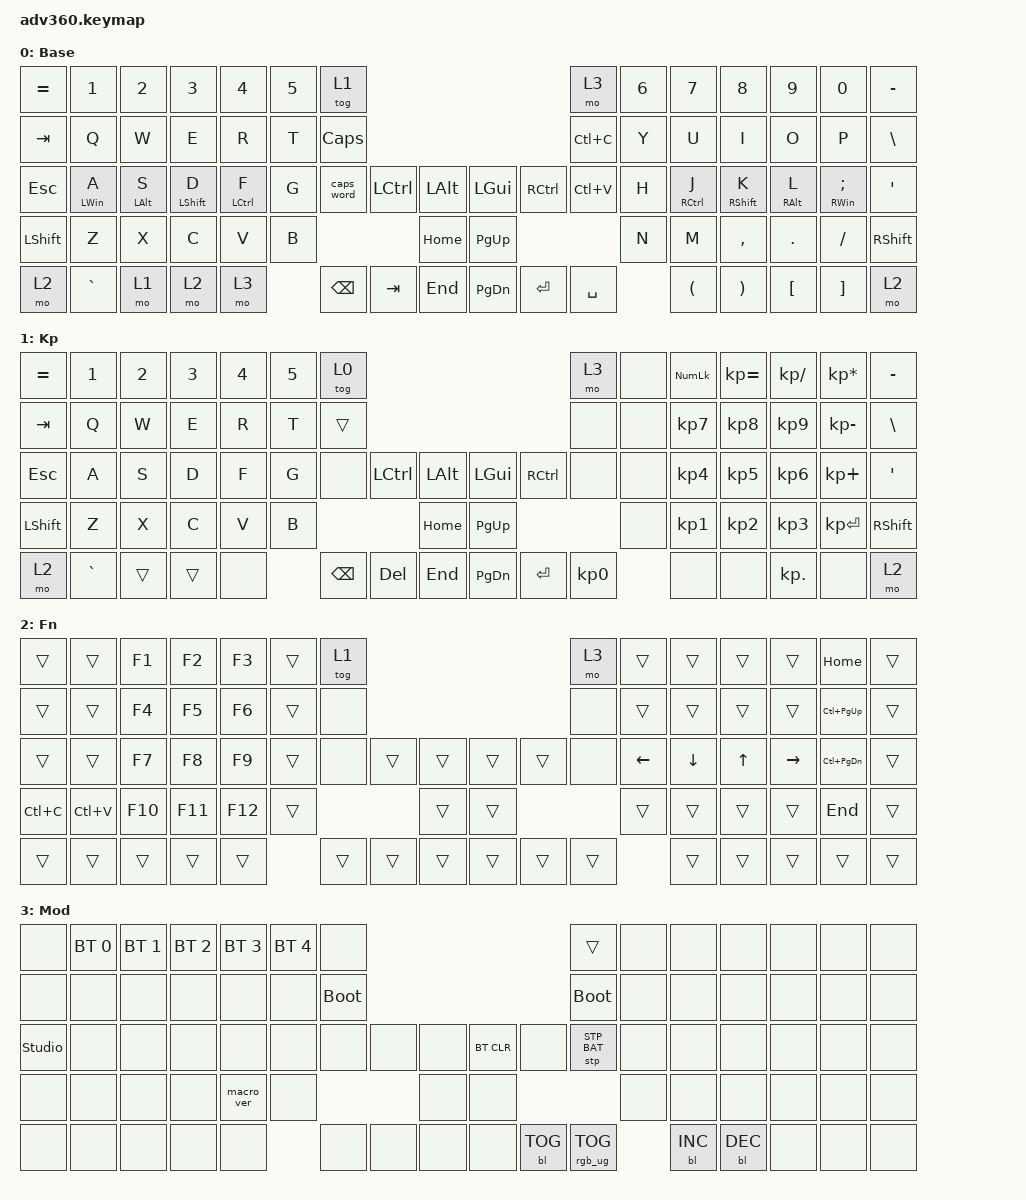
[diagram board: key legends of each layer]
#include <dt-bindings/zmk/stp.h>
#include <behaviors.dtsi>
#include <dt-bindings/zmk/backlight.h>
#include <dt-bindings/zmk/bt.h>
#include <dt-bindings/zmk/keys.h>
#include <dt-bindings/zmk/rgb.h>

/ {
    behaviors {
        #include "macros.dtsi"
      #include "version.dtsi"

        hm: homerow_mods {
            compatible = "zmk,behavior-hold-tap";
            label = "HOMEROW_MODS";
            #binding-cells = <2>;
            tapping-term-ms = <280>;
            quick_tap_ms = <125>;
            require-prior-idle-ms = <150>;
            flavor = "tap-preferred";
            bindings = <&kp>, <&kp>;
        };
    };

    keymap {
        compatible = "zmk,keymap";

        default_layer {
            display-name = "Base";
            bindings = <
&kp EQUAL  &kp N1          &kp N2          &kp N3            &kp N4       &kp N5  &tog 1                                                       &mo 3      &kp N6  &kp N7                &kp N8                 &kp N9           &kp N0                   &kp MINUS
&kp TAB    &kp Q           &kp W           &kp E             &kp R        &kp T   &kp CAPSLOCK                                                 &kp LC(C)  &kp Y   &kp U                 &kp I                  &kp O            &kp P                    &kp BSLH
&kp ESC    &hm LEFT_WIN A  &hm LEFT_ALT S  &hm LEFT_SHIFT D  &hm LCTRL F  &kp G   &caps_word    &kp LCTRL  &kp LALT      &kp LGUI   &kp RCTRL  &kp LC(V)  &kp H   &hm RIGHT_CONTROL J   &hm RIGHT_SHIFT K      &hm RIGHT_ALT L  &hm RIGHT_WIN SEMICOLON  &kp SQT
&kp LSHFT  &kp Z           &kp X           &kp C             &kp V        &kp B                            &kp HOME      &kp PG_UP                        &kp N   &kp M                 &kp COMMA              &kp DOT          &kp FSLH                 &kp RSHFT
&mo 2      &kp GRAVE       &mo 1           &mo 2             &mo 3                &kp BSPC      &kp TAB    &kp END       &kp PG_DN  &kp ENTER  &kp SPACE          &kp LEFT_PARENTHESIS  &kp RIGHT_PARENTHESIS  &kp LBKT         &kp RBKT                 &mo 2
            >;
        };

        keypad {
            display-name = "Kp";
            bindings = <
&kp EQUAL  &kp N1     &kp N2  &kp N3  &kp N4  &kp N5  &tog 0                                                   &mo 3      &none  &kp KP_NUM  &kp KP_EQUAL  &kp KP_DIVIDE  &kp KP_MULTIPLY  &kp MINUS
&kp TAB    &kp Q      &kp W   &kp E   &kp R   &kp T   &trans                                                   &none      &none  &kp KP_N7   &kp KP_N8     &kp KP_N9      &kp KP_MINUS     &kp BSLH
&kp ESC    &kp A      &kp S   &kp D   &kp F   &kp G   &none     &kp LCTRL  &kp LALT      &kp LGUI   &kp RCTRL  &none      &none  &kp KP_N4   &kp KP_N5     &kp KP_N6      &kp KP_PLUS      &kp SQT
&kp LSHFT  &kp Z      &kp X   &kp C   &kp V   &kp B                        &kp HOME      &kp PG_UP                        &none  &kp KP_N1   &kp KP_N2     &kp KP_N3      &kp KP_ENTER     &kp RSHFT
&mo 2      &kp GRAVE  &trans  &trans  &none           &kp BSPC  &kp DEL    &kp END       &kp PG_DN  &kp ENTER  &kp KP_N0         &none       &none         &kp KP_DOT     &none            &mo 2
            >;
        };

        fn {
            display-name = "Fn";
            bindings = <
&trans     &trans     &kp F1   &kp F2   &kp F3   &trans  &tog 1                                      &mo 3   &trans    &trans          &trans        &trans     &kp HOME           &trans
&trans     &trans     &kp F4   &kp F5   &kp F6   &trans  &none                                       &none   &trans    &trans          &trans        &trans     &kp LC(PAGE_UP)    &trans
&trans     &trans     &kp F7   &kp F8   &kp F9   &trans  &none   &trans  &trans      &trans  &trans  &none   &kp LEFT  &kp DOWN_ARROW  &kp UP_ARROW  &kp RIGHT  &kp LC(PAGE_DOWN)  &trans
&kp LC(C)  &kp LC(V)  &kp F10  &kp F11  &kp F12  &trans                  &trans      &trans                  &trans    &trans          &trans        &trans     &kp END            &trans
&trans     &trans     &trans   &trans   &trans           &trans  &trans  &trans      &trans  &trans  &trans            &trans          &trans        &trans     &trans             &trans
            >;
        };

        mod {
            display-name = "Mod";
            bindings = <
&none           &bt BT_SEL 0  &bt BT_SEL 1  &bt BT_SEL 2  &bt BT_SEL 3  &bt BT_SEL 4  &none                                                  &trans           &none  &none       &none       &none  &none  &none
&none           &none         &none         &none         &none         &none         &bootloader                                            &bootloader      &none  &none       &none       &none  &none  &none
&studio_unlock  &none         &none         &none         &none         &none         &none        &none  &none      &bt BT_CLR  &none       &stp STP_BAT     &none  &none       &none       &none  &none  &none
&none           &none         &none         &none         &macro_ver    &none                             &none      &none                                    &none  &none       &none       &none  &none  &none
&none           &none         &none         &none         &none                       &none        &none  &none      &none       &bl BL_TOG  &rgb_ug RGB_TOG         &bl BL_INC  &bl BL_DEC  &none  &none  &none
            >;
        };

        extra1 {
            display-name = "Red";
            status = "reserved";
        };

        extra2 {
            display-name = "Purple";
            status = "reserved";
        };

        extra3 {
            display-name = "Cyan";
            status = "reserved";
        };

        extra4 {
            display-name = "Yellow";
            status = "reserved";
        };
    };
};
